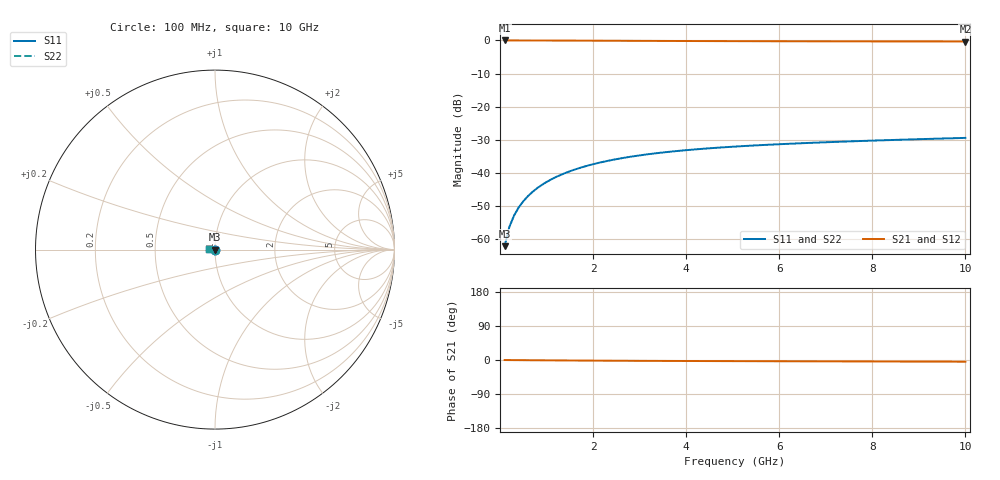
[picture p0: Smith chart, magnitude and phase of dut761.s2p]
! Touchstone file exported from HFSS 2024.1.0
!  File:  C:/UserFiles/LocalFiles/RDL_TSV_Batchsim/temp_TSV1_761_1779872565.aedt
!  Generated:  05:10:12 PM May 27, 2026
!  Design:  TSV1
!  Project:  temp_TSV1_761_1779872565
!  Setup:  Setup1
!  Solution:  Sweep
! Variables:
!  dtsv = 6.99um
!  hbump = 3um
!  htsv = 68.48um
!  lrdl = 252.1521522um
!  p = 40
!  p1 = 42.31um
!  t = 500um
!  trdl = 3um
!  wrdl = 24.89489489um
# GHz S MA R 50.000000
! Terminal data exported
! Port[1] = TSV22_T1
! Port[2] = TSV22_T2
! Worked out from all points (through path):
!   100 points, 100 MHz to 10 GHz, reference 50 ohm
!   highest |S21| = 0.00 dB at 100 MHz (marker M1); lowest = -0.3 dB at 10 GHz (marker M2)
!   lowest |S11| = -62.2 dB at 100 MHz (marker M3), VSWR 1.00, Z = 50 - j0.0741 ohm
!   |S11| at or under -10 dB: start of sweep to end of sweep
!   |S22| runs from -62.2 to -29.4 dB; largest |S21 - S12| = 5e-15
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0.1  0.0007806 -71.6  0.9997 -0.1  0.9997 -0.1  0.0007806 -71.6
! Gamma 0 0 0 0
! Port Impedance 50 0 50 0
0.2  0.001509 -83.1  0.9996 -0.2  0.9996 -0.2  0.001509 -83.1
0.3  0.002245 -88.3  0.9995 -0.3  0.9995 -0.3  0.002245 -88.3
0.4  0.002981 -91.7  0.9993 -0.4  0.9993 -0.4  0.002981 -91.7
0.5  0.003713 -94.5  0.9991 -0.5  0.9991 -0.5  0.003713 -94.5
0.6  0.00444 -97.0  0.9989 -0.5  0.9989 -0.5  0.00444 -97.0
0.7  0.005159 -99.2  0.9986 -0.6  0.9986 -0.6  0.005159 -99.2
0.8  0.005871 -101.3  0.9983 -0.7  0.9983 -0.7  0.005871 -101.3
0.9  0.006573 -103.2  0.9979 -0.8  0.9979 -0.8  0.006573 -103.2
1.1  0.007947 -107.0  0.9971 -1.0  0.9971 -1.0  0.007947 -107.0
1.4  0.009919 -112.3  0.9956 -1.2  0.9956 -1.2  0.009919 -112.3
1.6  0.01117 -115.7  0.9945 -1.4  0.9945 -1.4  0.01117 -115.7
1.8  0.01236 -118.9  0.9934 -1.5  0.9934 -1.5  0.01236 -118.9
2.1  0.01405 -123.5  0.9915 -1.7  0.9915 -1.7  0.01405 -123.5
2.5  0.01609 -129.2  0.9891 -1.9  0.9891 -1.9  0.01609 -129.2
2.9  0.01792 -134.6  0.9866 -2.1  0.9866 -2.1  0.01792 -134.6
3.4  0.01993 -140.8  0.9837 -2.4  0.9837 -2.4  0.01993 -140.8
4.2  0.02262 -149.5  0.9795 -2.7  0.9795 -2.7  0.02262 -149.5
5.1  0.02506 -158.1  0.9756 -3.0  0.9756 -3.0  0.02506 -158.1
6.7  0.02843 -170.6  0.9703 -3.5  0.9703 -3.5  0.02843 -170.6
8.4  0.03131 178.6  0.9666 -4.0  0.9666 -4.0  0.03131 178.6
10  0.03373 170.1  0.964 -4.5  0.964 -4.5  0.03373 170.1
